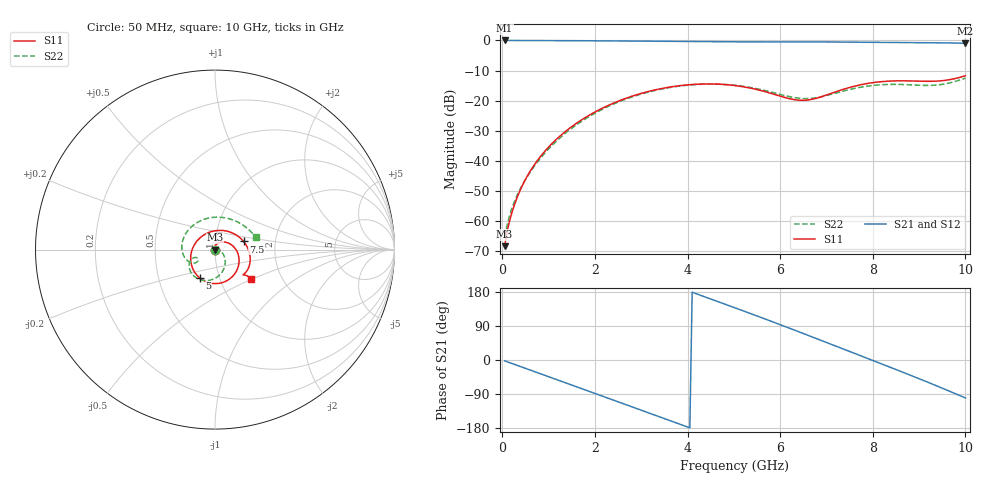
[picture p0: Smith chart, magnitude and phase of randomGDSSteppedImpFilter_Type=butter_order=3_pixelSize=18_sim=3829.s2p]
! freq	dB(S11)	phase(S11)	dB(S12)	phase(S12)
!  dB(S21)	phase(S21)	dB(S22)	phase(S22)
!S-par simulation data
#  GHz  S  DB  R 50
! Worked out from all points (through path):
!   200 points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, 50 MHz to 10 GHz, reference 50 ohm
!   highest |S21| = 0.00 dB at 50 MHz (marker M1); lowest = -0.9 dB at 10 GHz (marker M2)
!   group delay of S21, straight-line fit = 127 ps
!   lowest |S11| = -68.3 dB at 50 MHz (marker M3), VSWR 1.00, Z = 50 + j0.0169 ohm
!   |S11| at or under -10 dB: start of sweep to end of sweep
!   |S22| runs from -65.2 to -12.5 dB; largest |S21 - S12| = 0
!   S11 on the Smith chart (normalised r, x): 50 MHz: 1.00, +0.00; 5 GHz: 0.80, -0.26; 7.5 GHz: 1.37, +0.13; 10 GHz: 1.41, -0.49
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0.05  -68.31 26.1  -0.00 -2.2  -0.00 -2.2  -65.18 28.5
0.15  -60.35 76.0  -0.01 -6.7  -0.01 -6.7  -58.55 47.8
0.25  -55.13 93.2  -0.02 -11.1  -0.02 -11.1  -53.98 45.5
0.6  -43.47 104.5  -0.03 -26.5  -0.03 -26.5  -43.75 22.9
1.1  -33.82 87.4  -0.06 -48.4  -0.06 -48.4  -34.45 -1.7
1.75  -26.00 54.3  -0.09 -77.1  -0.09 -77.1  -26.47 -26.2
2.15  -22.58 32.9  -0.13 -94.8  -0.13 -94.8  -22.94 -40.5
2.55  -19.88 11.6  -0.17 -112.5  -0.17 -112.5  -20.17 -54.9
3.4  -16.08 -32.8  -0.29 -150.2  -0.29 -150.2  -16.25 -85.8
4.2  -14.54 -74.4  -0.41 174.4  -0.41 174.4  -14.61 -114.4
5  -14.93 -118.5  -0.46 138.8  -0.46 138.8  -14.85 -140.5
5.05  -15.02 -121.4  -0.46 136.6  -0.46 136.6  -14.93 -142.0
5.9  -18.02 177.8  -0.45 97.9  -0.45 97.9  -17.51 -158.7
6.3  -19.64 136.0  -0.45 79.3  -0.45 79.3  -18.95 -156.7
6.7  -19.50 87.0  -0.47 60.5  -0.47 60.5  -19.19 -148.7
7.5  -15.61 15.9  -0.57 22.6  -0.57 22.6  -16.28 -151.9
7.9  -14.25 -6.4  -0.64 3.6  -0.64 3.6  -15.13 -166.1
8.35  -13.50 -25.3  -0.70 -17.8  -0.70 -17.8  -14.60 170.9
8.8  -13.44 -37.6  -0.74 -39.5  -0.74 -39.5  -14.73 139.7
9.25  -13.57 -41.9  -0.77 -61.7  -0.77 -61.7  -14.93 98.1
9.65  -13.04 -40.0  -0.82 -82.0  -0.82 -82.0  -14.15 54.0
10  -11.73 -38.6  -0.94 -100.1  -0.94 -100.1  -12.52 16.8
